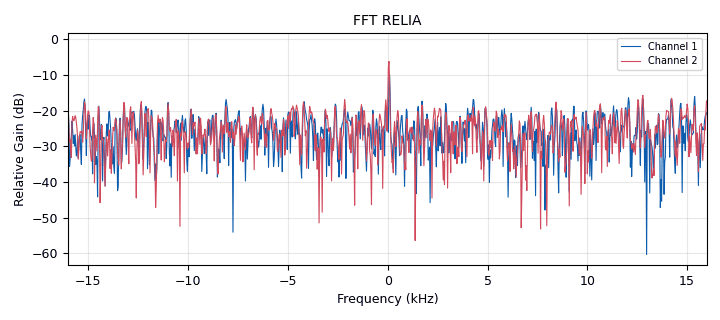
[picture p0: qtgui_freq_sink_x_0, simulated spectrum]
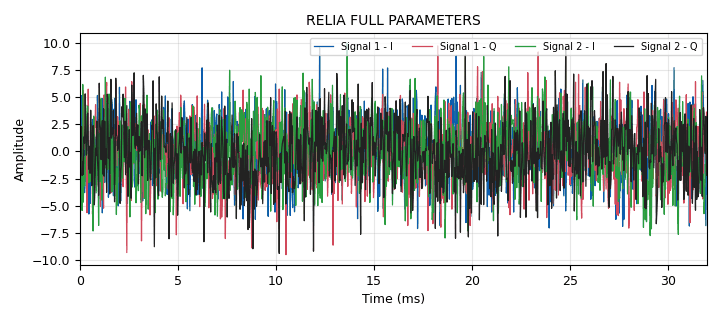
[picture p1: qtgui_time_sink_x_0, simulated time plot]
options:
  parameters:
    author: marcos
    generate_options: qt_gui
    id: default
    output_language: python
    title: Not titled yet
  states: {}

blocks:
- name: samp_rate
  id: variable
  parameters:
    value: '32000'
  states: {}
- name: variable_qtgui_range_0
  id: variable_qtgui_range
  parameters:
    outputmsgname: value
    showports: 'False'
    start: '0'
    step: '1'
    stop: '40000'
    value: '50'
  states: {}
- name: analog_noise_source_x_0
  id: analog_noise_source_x
  parameters:
    amp: '4'
    noise_type: analog.GR_GAUSSIAN
    seed: '0'
    type: complex
  states: {}
- name: analog_sig_source_x_0
  id: analog_sig_source_x
  parameters:
    amp: '1'
    freq: '79'
    offset: '0'
    phase: '0'
    samp_rate: samp_rate
    type: complex
    waveform: analog.GR_COS_WAVE
  states: {}
- name: analog_sig_source_x_1
  id: analog_sig_source_x
  parameters:
    amp: '1.5'
    freq: variable_qtgui_range_0
    offset: '0'
    phase: '0'
    samp_rate: samp_rate
    type: complex
    waveform: analog.GR_COS_WAVE
  states: {}
- name: blocks_add_xx_0
  id: blocks_add_xx
  parameters:
    type: complex
  states: {}
- name: blocks_add_xx_0_0
  id: blocks_add_xx
  parameters:
    type: complex
  states: {}
- name: blocks_complex_to_mag_0
  id: blocks_complex_to_mag
  parameters: {}
  states: {state: disabled}
- name: blocks_complex_to_mag_1
  id: blocks_complex_to_mag
  parameters: {}
  states: {state: disabled}
- name: blocks_delay_0
  id: blocks_delay
  parameters:
    delay: '45'
    type: complex
  states: {}
- name: blocks_delay_0_0
  id: blocks_delay
  parameters:
    delay: '180'
    type: complex
  states: {}
- name: blocks_multiply_const_vxx_0
  id: blocks_multiply_const_vxx
  parameters:
    const: '1'
    type: complex
  states: {}
- name: blocks_stream_to_vector_0
  id: blocks_stream_to_vector
  parameters:
    num_items: '1024'
    type: float
  states: {state: disabled}
- name: blocks_stream_to_vector_0_0
  id: blocks_stream_to_vector
  parameters:
    num_items: '1024'
    type: float
  states: {state: disabled}
- name: blocks_throttle_0
  id: blocks_throttle
  parameters:
    samples_per_second: samp_rate
    type: complex
  states: {}
- name: blocks_throttle_0_0
  id: blocks_throttle
  parameters:
    samples_per_second: samp_rate
    type: complex
  states: {}
- name: qtgui_auto_correlator_sink_1
  id: qtgui_auto_correlator_sink
  parameters:
    fac_decimation: '4'
    fac_size: '32'
    sampRate: samp_rate
    title: '"ACF Function"'
    useDB: 'False'
  states: {}
- name: qtgui_const_sink_x_0
  id: qtgui_const_sink_x
  parameters:
    autoscale: 'True'
    grid: 'True'
    label1: signal 1
    label2: signal 2
    nconnections: '2'
    size: '1024'
    type: complex
  states: {state: disabled}
- name: qtgui_freq_sink_x_0
  id: qtgui_freq_sink_x
  parameters:
    autoscale: 'True'
    bw: samp_rate
    color1: '"dark blue"'
    fc: '0'
    fftsize: '1024'
    label1: Channel 1
    label2: Channel 2
    name: FFT RELIA
    nconnections: '2'
    type: complex
    ymax: '80'
    ymin: '-10'
  states: {}
- name: qtgui_time_sink_x_0
  id: qtgui_time_sink_x
  parameters:
    autoscale: 'True'
    color1: green
    color2: dark blue
    color3: blue
    color4: red
    grid: 'True'
    label1: Signal 1 - I
    label2: Signal 1 - Q
    label3: Signal 2 - I
    label4: Signal 2 - Q
    name: RELIA FULL PARAMETERS
    nconnections: '2'
    size: '1024'
    srate: samp_rate
    style2: '2'
    style3: '2'
    style4: '2'
    type: complex
    width2: '2'
    ymax: '2'
    ymin: '-2'
    yunit: Voltage
  states: {}
- name: qtgui_vector_sink_f_0
  id: qtgui_vector_sink_f
  parameters:
    autoscale: 'True'
    average: '0.05'
    label1: Test showcase
    label2: Test Panel
    nconnections: '2'
    vlen: '1024'
    x_start: '0'
    x_step: '1.0'
  states: {state: disabled}

connections:
- [analog_noise_source_x_0, '0', blocks_add_xx_0, '1']
- [analog_noise_source_x_0, '0', blocks_add_xx_0_0, '0']
- [analog_noise_source_x_0, '0', qtgui_time_sink_x_0, '0']
- [analog_sig_source_x_0, '0', blocks_add_xx_0, '0']
- [analog_sig_source_x_1, '0', blocks_add_xx_0_0, '1']
- [blocks_add_xx_0, '0', blocks_throttle_0, '0']
- [blocks_add_xx_0_0, '0', blocks_throttle_0_0, '0']
- [blocks_complex_to_mag_0, '0', blocks_stream_to_vector_0, '0']
- [blocks_complex_to_mag_1, '0', blocks_stream_to_vector_0_0, '0']
- [blocks_delay_0, '0', qtgui_const_sink_x_0, '0']
- [blocks_delay_0, '0', qtgui_freq_sink_x_0, '0']
- [blocks_delay_0, '0', qtgui_time_sink_x_0, '1']
- [blocks_delay_0_0, '0', qtgui_const_sink_x_0, '1']
- [blocks_delay_0_0, '0', qtgui_freq_sink_x_0, '1']
- [blocks_multiply_const_vxx_0, '0', blocks_complex_to_mag_0, '0']
- [blocks_multiply_const_vxx_0, '0', blocks_delay_0_0, '0']
- [blocks_stream_to_vector_0, '0', qtgui_vector_sink_f_0, '0']
- [blocks_stream_to_vector_0_0, '0', qtgui_vector_sink_f_0, '1']
- [blocks_throttle_0, '0', blocks_complex_to_mag_1, '0']
- [blocks_throttle_0, '0', blocks_delay_0, '0']
- [blocks_throttle_0, '0', qtgui_auto_correlator_sink_1, '0']
- [blocks_throttle_0_0, '0', blocks_multiply_const_vxx_0, '0']

metadata:
  file_format: 1
  grc_version: 3.10.4.0
